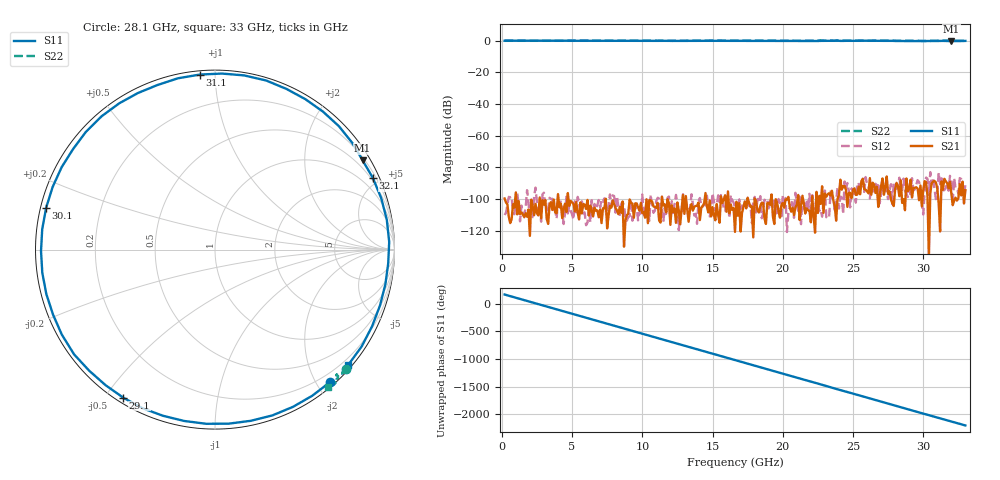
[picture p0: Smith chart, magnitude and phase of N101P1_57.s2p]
# GHZ S RI R 50
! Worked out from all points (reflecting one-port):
!   329 points, 200 MHz to 33 GHz, reference 50 ohm
!   lowest |S11| = -0.3 dB at 32 GHz (marker M1), VSWR 50.46, Z = 13.6 + j178 ohm
!   phase of S11 starts at 165 deg and turns -2366 deg over the sweep
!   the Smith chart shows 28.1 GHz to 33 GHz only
!   S11 on the Smith chart (normalised r, x): 28.1 GHz: 0.07, -2.19; 29.1 GHz: 0.02, -0.56; 30.1 GHz: 0.02, +0.12; 31.1 GHz: 0.02, +0.92; 32.1 GHz: 0.39, +4.60; 33 GHz: 0.08, -2.68
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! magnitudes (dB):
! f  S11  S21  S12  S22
! 200 MHz  0.0  -99.7  -110.2  0.0
! 5.7 GHz  0.0  -109.1  -101.5  0.0
! 11.2 GHz  -0.1  -113.7  -99.8  -0.1
! 16.6 GHz  -0.1  -120.8  -104.9  0.0
! 22.1 GHz  -0.2  -98.2  -97.6  0.0
! 22.6 GHz  -0.1  -98.1  -107.7  0.1
! 23 GHz  -0.2  -96.6  -94.7  0.0
! 23.3 GHz  -0.2  -96.4  -111.9  0.0
! 23.6 GHz  -0.1  -101.0  -99.0  0.0
! 23.9 GHz  0.0  -100.0  -92.8  0.1
! 24.1 GHz  -0.2  -87.9  -98.5  0.0
! 24.9 GHz  -0.2  -99.4  -93.4  0.0
! 25.5 GHz  0.0  -97.1  -97.6  0.0
! 27.6 GHz  -0.2  -95.1  -94.9  -0.1
! 28.1 GHz  -0.2  -89.8  -93.6  -0.1
! 29.1 GHz  -0.3  -87.9  -97.1  -0.1
! 30.1 GHz  -0.3  -88.8  -95.3  -0.2
! 31.1 GHz  -0.2  -103.0  -83.4  -0.1
! 31.4 GHz  -0.1  -94.2  -94.6  0.0
! 32 GHz  -0.3  -96.6  -88.4  -0.1
! 32.1 GHz  -0.3  -104.0  -103.3  -0.1
! 33 GHz  -0.2  -94.6  -91.3  -0.1
